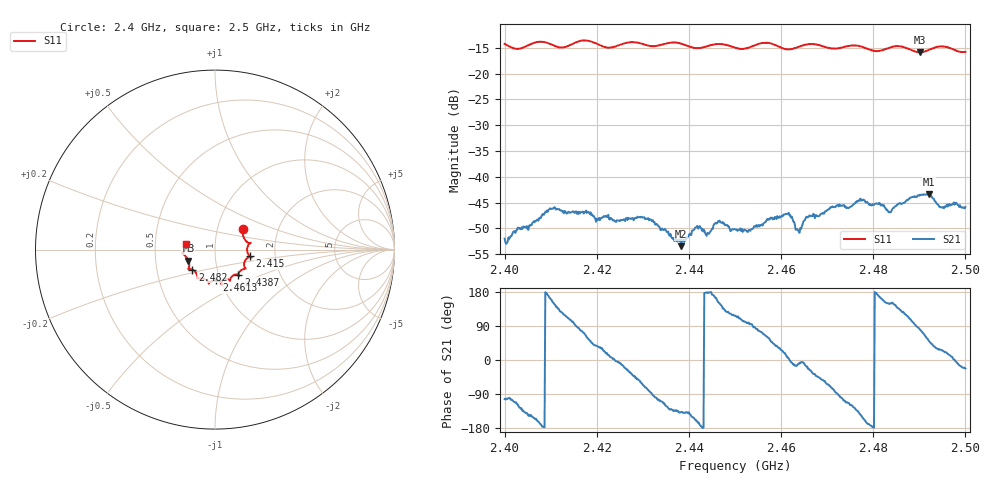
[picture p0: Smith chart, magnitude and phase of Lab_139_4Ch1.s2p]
# Hz S RI R 50
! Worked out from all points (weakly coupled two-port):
!   601 points, 2.4 GHz to 2.5 GHz, reference 50 ohm
!   highest |S21| = -43.39 dB at 2.492 GHz (marker M1); lowest = -53.4 dB at 2.4383 GHz (marker M2)
!   lowest |S11| = -15.9 dB at 2.4902 GHz (marker M3), VSWR 1.38, Z = 36.8 - j4.64 ohm
!   |S11| at or under -10 dB: start of sweep to end of sweep
!   S12 and S22 are empty: the file has one direction only
!   S11 on the Smith chart (normalised r, x): 2.4 GHz: 1.33, +0.31; 2.415 GHz: 1.47, -0.11; 2.4387 GHz: 1.24, -0.36; 2.4613 GHz: 0.96, -0.34; 2.482 GHz: 0.76, -0.17; 2.5 GHz: 0.72, +0.05
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2.4e9  0.1575 0.1124  -0.000572 -0.00245  0 0  0 0
2.41e9  0.1897 0.0311  -0.00463 0.00164  0 0  0 0
2.415e9  0.1926 -0.0362  -0.000636 0.00457  0 0  0 0
2.416667e9  0.2036 -0.0442  0.00101 0.00443  0 0  0 0
2.429833e9  0.1613 -0.1082  0.00187 -0.00362  0 0  0 0
2.433333e9  0.1325 -0.1315  -0.000809 -0.00324  0 0  0 0
2.438333e9  0.1323 -0.1429  -0.00157 -0.00144  0 0  0 0
2.438667e9  0.1305 -0.1416  -0.0018 -0.00157  0 0  0 0
2.441833e9  0.1008 -0.1444  -0.00318 -0.00101  0 0  0 0
2.444167e9  0.0847 -0.1648  -0.00282 0.000175  0 0  0 0
2.446167e9  0.0837 -0.1741  -0.00328 0.00144  0 0  0 0
2.45e9  0.0684 -0.1646  -0.00139 0.00277  0 0  0 0
2.461333e9  0.0083 -0.1712  0.00435 0.000521  0 0  0 0
2.463667e9  -0.0238 -0.1788  0.00299 -0.00058  0 0  0 0
2.466667e9  -0.0345 -0.1902  0.00352 -0.00222  0 0  0 0
2.477333e9  -0.0971 -0.1552  -0.00486 -0.0033  0 0  0 0
2.482e9  -0.1261 -0.1119  -0.00501 0.00186  0 0  0 0
2.483333e9  -0.1398 -0.1088  -0.00391 0.00232  0 0  0 0
2.490167e9  -0.1482 -0.0614  0.00121 0.00658  0 0  0 0
2.492e9  -0.1647 -0.036  0.00423 0.00529  0 0  0 0
2.494833e9  -0.1821 -0.0201  0.00453 0.00224  0 0  0 0
2.5e9  -0.159 0.0325  0.0047 -0.00194  0 0  0 0
